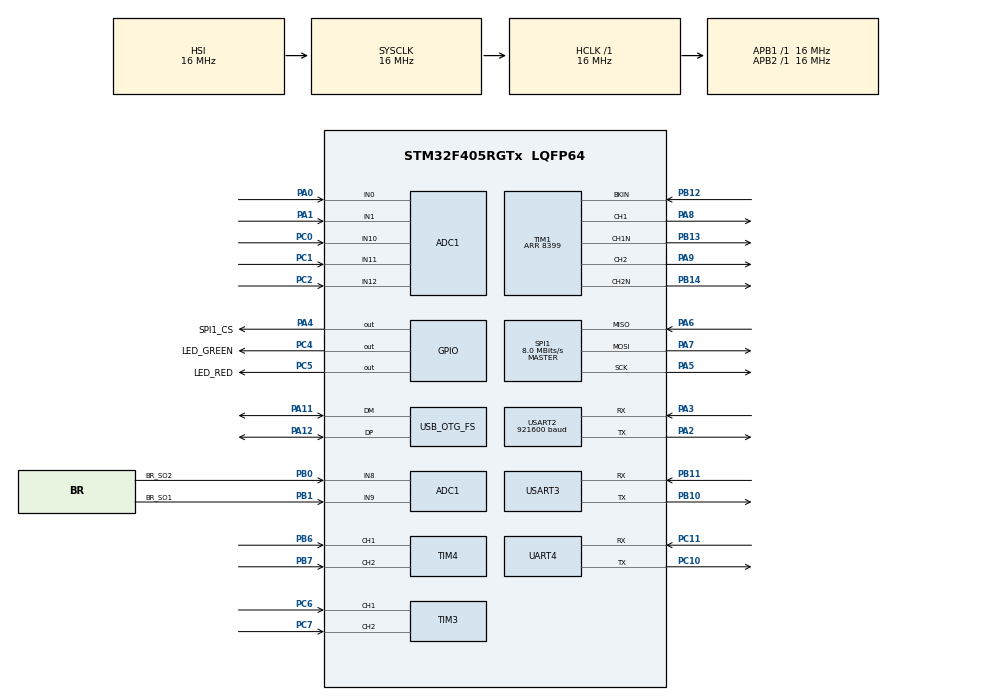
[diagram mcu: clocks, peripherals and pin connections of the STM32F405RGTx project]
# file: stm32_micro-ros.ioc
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ADC1.Channel-0\#ChannelRegularConversion=ADC_CHANNEL_0
ADC1.Channel-1\#ChannelRegularConversion=ADC_CHANNEL_8
ADC1.Channel-2\#ChannelRegularConversion=ADC_CHANNEL_9
ADC1.Channel-3\#ChannelRegularConversion=ADC_CHANNEL_10
ADC1.Channel-4\#ChannelRegularConversion=ADC_CHANNEL_11
ADC1.Channel-5\#ChannelRegularConversion=ADC_CHANNEL_12
ADC1.Channel-6\#ChannelRegularConversion=ADC_CHANNEL_TEMPSENSOR
ADC1.NbrOfConversion=7
ADC1.NbrOfConversionFlag=1
ADC1.Rank-0\#ChannelRegularConversion=1
ADC1.Rank-1\#ChannelRegularConversion=2
ADC1.Rank-2\#ChannelRegularConversion=3
ADC1.Rank-3\#ChannelRegularConversion=4
ADC1.Rank-4\#ChannelRegularConversion=5
ADC1.Rank-5\#ChannelRegularConversion=6
ADC1.Rank-6\#ChannelRegularConversion=7
ADC1.SamplingTime-0\#ChannelRegularConversion=ADC_SAMPLETIME_15CYCLES
ADC1.SamplingTime-1\#ChannelRegularConversion=ADC_SAMPLETIME_15CYCLES
ADC1.SamplingTime-2\#ChannelRegularConversion=ADC_SAMPLETIME_15CYCLES
ADC1.SamplingTime-3\#ChannelRegularConversion=ADC_SAMPLETIME_15CYCLES
ADC1.SamplingTime-4\#ChannelRegularConversion=ADC_SAMPLETIME_15CYCLES
ADC1.SamplingTime-5\#ChannelRegularConversion=ADC_SAMPLETIME_15CYCLES
ADC1.SamplingTime-6\#ChannelRegularConversion=ADC_SAMPLETIME_15CYCLES
ADC1.master=1
Dma.Request0=USART2_RX
Dma.USART2_RX.0.Direction=DMA_PERIPH_TO_MEMORY
Dma.USART2_RX.0.FIFOMode=DMA_FIFOMODE_DISABLE
Dma.USART2_RX.0.Instance=DMA1_Stream5
Dma.USART2_RX.0.MemDataAlignment=DMA_MDATAALIGN_BYTE
Dma.USART2_RX.0.MemInc=DMA_MINC_ENABLE
Dma.USART2_RX.0.Mode=DMA_CIRCULAR
Dma.USART2_RX.0.PeriphDataAlignment=DMA_PDATAALIGN_BYTE
Dma.USART2_RX.0.PeriphInc=DMA_PINC_DISABLE
Dma.USART2_RX.0.Priority=DMA_PRIORITY_LOW
FREERTOS.Tasks01=defaultTask,24,128,StartDefaultTask,Default,NULL,Dynamic,NULL,NULL
Mcu.Family=STM32F4
Mcu.Name=STM32F405RGTx
Mcu.Package=LQFP64
NVIC.DMA1_Stream5_IRQn=true\:5\:0\:false\:false\:true\:true\:false\:true\:true
NVIC.PriorityGroup=NVIC_PRIORITYGROUP_4
NVIC.TIM2_IRQn=true\:15\:0\:false\:false\:true\:false\:false\:true\:true
NVIC.TimeBase=TIM2_IRQn
NVIC.TimeBaseIP=TIM2
NVIC.USART2_IRQn=true\:5\:0\:false\:false\:true\:true\:true\:true\:true
PA0-WKUP.Signal=ADCx_IN0
PA1.Signal=ADCx_IN1
PA10.Signal=S_TIM1_CH3
PA11.Mode=Device_Only
PA11.Signal=USB_OTG_FS_DM
PA12.Mode=Device_Only
PA12.Signal=USB_OTG_FS_DP
PA13.Mode=Serial_Wire
PA13.Signal=SYS_JTMS-SWDIO
PA14.Mode=Serial_Wire
PA14.Signal=SYS_JTCK-SWCLK
PA2.Mode=Asynchronous
PA2.Signal=USART2_TX
PA3.Mode=Asynchronous
PA3.Signal=USART2_RX
PA4.GPIO_Label=SPI1_CS
PA4.Signal=GPIO_Output
PA5.Mode=Full_Duplex_Master
PA5.Signal=SPI1_SCK
PA6.Mode=Full_Duplex_Master
PA6.Signal=SPI1_MISO
PA7.Mode=Full_Duplex_Master
PA7.Signal=SPI1_MOSI
PA8.Signal=S_TIM1_CH1
PA9.Signal=S_TIM1_CH2
PB0.GPIO_Label=BR_SO2
PB0.Signal=ADCx_IN8
PB1.GPIO_Label=BR_SO1
PB1.Signal=ADCx_IN9
PB10.Mode=Asynchronous
PB10.Signal=USART3_TX
PB11.Mode=Asynchronous
PB11.Signal=USART3_RX
PB12.Mode=Activate-Break-Input
PB12.Signal=TIM1_BKIN
PB13.Mode=Output Compare1 CH1 CH1N
PB13.Signal=TIM1_CH1N
PB14.Mode=Output Compare2 CH2 CH2N
PB14.Signal=TIM1_CH2N
PB15.Signal=TIM1_CH3N
PB6.Signal=S_TIM4_CH1
PB7.Signal=S_TIM4_CH2
PC0.Signal=ADCx_IN10
PC1.Signal=ADCx_IN11
PC10.Mode=Asynchronous
PC10.Signal=UART4_TX
PC11.Mode=Asynchronous
PC11.Signal=UART4_RX
PC2.Signal=ADCx_IN12
PC4.GPIO_Label=LED_GREEN
PC4.GPIO_PuPd=GPIO_PULLUP
PC4.GPIO_Speed=GPIO_SPEED_FREQ_HIGH
PC4.Signal=GPIO_Output
PC5.GPIO_Label=LED_RED
PC5.GPIO_PuPd=GPIO_PULLUP
PC5.GPIO_Speed=GPIO_SPEED_FREQ_HIGH
PC5.Signal=GPIO_Output
PC6.Signal=S_TIM3_CH1
PC7.Signal=S_TIM3_CH2
PH0-OSC_IN.Mode=HSE-External-Oscillator
PH0-OSC_IN.Signal=RCC_OSC_IN
PH1-OSC_OUT.Mode=HSE-External-Oscillator
PH1-OSC_OUT.Signal=RCC_OSC_OUT
ProjectManager.HeapSize=0x200
ProjectManager.StackSize=0x400
ProjectManager.TargetToolchain=STM32CubeIDE
RCC.48MHZClocksFreq_Value=48000000
RCC.AHBFreq_Value=16000000
RCC.APB1Freq_Value=16000000
RCC.APB1TimFreq_Value=16000000
RCC.APB2Freq_Value=16000000
RCC.APB2TimFreq_Value=16000000
RCC.CortexFreq_Value=16000000
RCC.HCLKFreq_Value=16000000
RCC.HSE_VALUE=8000000
RCC.HSICalibrationValue=16
RCC.HSI_VALUE=16000000
RCC.LSE_VALUE=32768
RCC.PLLM=4
RCC.PLLN=72
RCC.PLLQ=3
RCC.SYSCLKFreq_VALUE=16000000
RCC.VCOOutputFreq_Value=144000000
SH.ADCx_IN0.0=ADC1_IN0,IN0
SH.ADCx_IN1.0=ADC1_IN1,IN1
SH.ADCx_IN10.0=ADC1_IN10,IN10
SH.ADCx_IN11.0=ADC1_IN11,IN11
SH.ADCx_IN12.0=ADC1_IN12,IN12
SH.ADCx_IN8.0=ADC1_IN8,IN8
SH.ADCx_IN9.0=ADC1_IN9,IN9
SH.S_TIM1_CH1.0=TIM1_CH1,Output Compare1 CH1 CH1N
SH.S_TIM1_CH2.0=TIM1_CH2,Output Compare2 CH2 CH2N
SH.S_TIM1_CH3.0=TIM1_CH3
SH.S_TIM3_CH1.0=TIM3_CH1,Encoder_Interface
SH.S_TIM3_CH2.0=TIM3_CH2,Encoder_Interface
SH.S_TIM4_CH1.0=TIM4_CH1,Encoder_Interface
SH.S_TIM4_CH2.0=TIM4_CH2,Encoder_Interface
SPI1.BaudRatePrescaler=SPI_BAUDRATEPRESCALER_2
SPI1.CalculateBaudRate=8.0 MBits/s
SPI1.Direction=SPI_DIRECTION_2LINES
SPI1.Mode=SPI_MODE_MASTER
SPI1.VirtualType=VM_MASTER
TIM1.Channel-Output\ Compare1\ CH1\ CH1N=TIM_CHANNEL_1
TIM1.Channel-Output\ Compare2\ CH2\ CH2N=TIM_CHANNEL_2
TIM1.DeadTime=58
TIM1.Period=8399
UART4.VirtualMode=Asynchronous
USART2.BaudRate=921600
USART2.VirtualMode=VM_ASYNC
USART3.VirtualMode=VM_ASYNC
USB_OTG_FS.VirtualMode=Device_Only
VP_ADC1_TempSens_Input.Mode=IN-TempSens
VP_FREERTOS_VS_CMSIS_V2.Mode=CMSIS_V2
VP_SYS_VS_tim2.Mode=TIM2
VP_TIM1_VS_ClockSourceINT.Mode=Internal
board=custom

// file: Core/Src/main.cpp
/* USER CODE BEGIN Header */
/**
  ******************************************************************************
  * @file           : main.cpp
  * @brief          : Main program body
  ******************************************************************************
  * @attention
  *
  * Copyright (c) 2025 STMicroelectronics.
  * All rights reserved.
  *
  * This software is licensed under terms that can be found in the LICENSE file
  * in the root directory of this software component.
  * If no LICENSE file comes with this software, it is provided AS-IS.
  *
  ******************************************************************************
  */
/* USER CODE END Header */
#include "main.h"
#include "cmsis_os.h"

/* USER CODE BEGIN Includes */
#include <stdio.h>
#include "extern.h"

/* USER CODE END Includes */

ADC_HandleTypeDef hadc1;

SPI_HandleTypeDef hspi1;

TIM_HandleTypeDef htim1;
TIM_HandleTypeDef htim3;
TIM_HandleTypeDef htim4;

UART_HandleTypeDef huart4;
UART_HandleTypeDef huart2;
UART_HandleTypeDef huart3;
DMA_HandleTypeDef hdma_usart2_rx;

PCD_HandleTypeDef hpcd_USB_OTG_FS;

/* Definitions for defaultTask */
osThreadId_t defaultTaskHandle;
const osThreadAttr_t defaultTask_attributes = {
  .name = "defaultTask",
  .stack_size = 128 * 4,
  .priority = (osPriority_t) osPriorityNormal,
};
/* USER CODE BEGIN PV */
// Global task manager instance
task_class* pTaskManager = nullptr;

// Task handles and attributes (protected from CubeMX regeneration)
osThreadId_t microRosTaskHandle;
const osThreadAttr_t microRosTask_attributes = {
  .name = "MicroRosTask",
  .stack_size = 6144,  // 6KB - reduced for memory optimization
  .priority = (osPriority_t) osPriorityBelowNormal,  // Lower priority to not block other tasks
};

osThreadId_t controlTaskHandle;
const osThreadAttr_t controlTask_attributes = {
  .name = "ControlTask",
  .stack_size = 2048,  // Increased for motor/encoder operations
  .priority = (osPriority_t) osPriorityNormal,  // Reduced from High
};

osThreadId_t sensorTaskHandle;
const osThreadAttr_t sensorTask_attributes = {
  .name = "SensorTask",
  .stack_size = 2048,  // Increased for IMU sensor initialization
  .priority = (osPriority_t) osPriorityNormal,
};
/* USER CODE END PV */

void SystemClock_Config(void);
static void MX_GPIO_Init(void);
static void MX_DMA_Init(void);
static void MX_SPI1_Init(void);
static void MX_ADC1_Init(void);
static void MX_TIM1_Init(void);
static void MX_USART3_UART_Init(void);
static void MX_TIM4_Init(void);
static void MX_UART4_Init(void);
static void MX_USART2_UART_Init(void);
static void MX_TIM3_Init(void);
static void MX_USB_OTG_FS_PCD_Init(void);
void StartDefaultTask(void *argument);

/* USER CODE BEGIN PFP */
// Jump to DFU bootloader function (C linkage for use in usbd_cdc_if.c)
#ifdef __cplusplus
extern "C" {
#endif
void JumpToBootloader(void);
#ifdef __cplusplus
}
#endif

// Redirect printf to UART3 (debug output, 115200 baud - PB10/PB11)
#ifdef __cplusplus
extern "C" int _write(int32_t file, uint8_t *ptr, int32_t len)
{
#else
int _write(int32_t file, uint8_t *ptr, int32_t len) {
#endif
	// Use UART3 for printf output (UART2 is used by micro-ROS @ 921600)
	HAL_UART_Transmit(&huart3, ptr, len, HAL_MAX_DELAY);
	return len;
}
/* USER CODE END PFP */

/* USER CODE BEGIN 0 */

// DFU mode can be entered by sending "DFU" command via USB CDC

// Jump to System Memory (DFU Bootloader) for STM32F405
// This allows entering DFU mode via USB command without changing BOOT0 pin
void JumpToBootloader(void)
{
    // Disable all interrupts
    __disable_irq();

    // System memory start address for STM32F405
    uint32_t bootloader_address = 0x1FFF0000;

    // Deinitialize all peripherals
    HAL_RCC_DeInit();
    HAL_DeInit();

    // Disable SysTick
    SysTick->CTRL = 0;
    SysTick->LOAD = 0;
    SysTick->VAL = 0;

    // Clear all interrupt pending flags
    for (int i = 0; i < 8; i++) {
        NVIC->ICER[i] = 0xFFFFFFFF;
        NVIC->ICPR[i] = 0xFFFFFFFF;
    }

    // Remap system memory to 0x00000000
    __HAL_RCC_SYSCFG_CLK_ENABLE();
    __HAL_SYSCFG_REMAPMEMORY_SYSTEMFLASH();

    // Get stack pointer and reset handler from bootloader
    uint32_t stack_pointer = *(__IO uint32_t*)bootloader_address;
    uint32_t jump_address = *(__IO uint32_t*)(bootloader_address + 4);

    // Set stack pointer
    __set_MSP(stack_pointer);

    // Jump to bootloader
    void (*bootloader)(void) = (void (*)(void))jump_address;
    bootloader();

    // Should never reach here
    while(1);
}

/* USER CODE END 0 */

int main(void)
{

  /* USER CODE BEGIN 1 */
  // Early hardware init for DFU check
  RCC->AHB1ENR |= RCC_AHB1ENR_GPIOCEN;
  GPIOC->MODER |= (1<<8) | (1<<10);  // PC4, PC5 as output

  // Simple DFU trigger: If both LEDs would be forced HIGH externally, enter DFU
  // This allows BOOT0=3.3V but still runs application normally
  // To enter DFU: Connect specific GPIO (future: button) to GND, then reset

  // For now: Just run application (BOOT0 can stay at 3.3V with code workaround)
  // The bootloader at 0x1FFF0000 only runs if we jump to it explicitly

  // Early boot indicator
  GPIOC->BSRR = (1<<4) | (1<<5);  // LEDs ON at boot
  /* USER CODE END 1 */

  /* MCU Configuration--------------------------------------------------------*/

  /* Reset of all peripherals, Initializes the Flash interface and the Systick. */
  HAL_Init();

  /* USER CODE BEGIN Init */
  GPIOC->BSRR = (1<<20) | (1<<21);  // LEDs OFF after HAL_Init
  for(volatile int i=0; i<1000000; i++);
  GPIOC->BSRR = (1<<4) | (1<<5);  // LEDs ON
  for(volatile int i=0; i<1000000; i++);
  GPIOC->BSRR = (1<<20) | (1<<21);  // LEDs OFF
  /* USER CODE END Init */

  /* Configure the system clock */
  SystemClock_Config();

  /* Initialize all configured peripherals */
  MX_GPIO_Init();
  MX_DMA_Init();
  MX_SPI1_Init();
  MX_ADC1_Init();
  MX_TIM1_Init();
  MX_USART3_UART_Init();
  MX_TIM4_Init();
  MX_UART4_Init();
  MX_USART2_UART_Init();
  MX_TIM3_Init();
  MX_USB_OTG_FS_PCD_Init();
  /* USER CODE BEGIN 2 */

  // CRITICAL: Enable FPU before FreeRTOS starts
  // This MUST be done before any FPU operations
  #if (__FPU_PRESENT == 1) && (__FPU_USED == 1)
  SCB->CPACR |= ((3UL << 10*2) | (3UL << 11*2));  // Set CP10 and CP11 Full Access
  #endif

#if 0
  // Stage 1: Boot indicator (RED)
  HAL_GPIO_WritePin(LED_RED_GPIO_Port, LED_RED_Pin, GPIO_PIN_SET);
  HAL_Delay(200);
  HAL_GPIO_WritePin(LED_RED_GPIO_Port, LED_RED_Pin, GPIO_PIN_RESET);
  HAL_Delay(200);

  // Stage 2: Before USB init (GREEN 1 blink)
  HAL_GPIO_WritePin(LED_GREEN_GPIO_Port, LED_GREEN_Pin, GPIO_PIN_SET);
  HAL_Delay(200);
  HAL_GPIO_WritePin(LED_GREEN_GPIO_Port, LED_GREEN_Pin, GPIO_PIN_RESET);
  HAL_Delay(200);

  // Initialize USB - DISABLED until FreeRTOS works
  //MX_USB_DEVICE_Init();

  // Stage 3: After USB init (GREEN 2 blinks)
  for(int i=0; i<2; i++) {
    HAL_GPIO_WritePin(LED_GREEN_GPIO_Port, LED_GREEN_Pin, GPIO_PIN_SET);
    HAL_Delay(100);
    HAL_GPIO_WritePin(LED_GREEN_GPIO_Port, LED_GREEN_Pin, GPIO_PIN_RESET);
    HAL_Delay(100);
  }

  HAL_Delay(1000);  // Wait for USB enumeration

  // Stage 4: USB ready (GREEN 3 blinks)
  for(int i=0; i<3; i++) {
    HAL_GPIO_WritePin(LED_GREEN_GPIO_Port, LED_GREEN_Pin, GPIO_PIN_SET);
    HAL_Delay(100);
    HAL_GPIO_WritePin(LED_GREEN_GPIO_Port, LED_GREEN_Pin, GPIO_PIN_RESET);
    HAL_Delay(100);
  }
#endif

  // Start Timer3 in encoder mode
  HAL_TIM_Encoder_Start(&htim3, TIM_CHANNEL_ALL);

  // Start Timer4 in encoder mode
  HAL_TIM_Encoder_Start(&htim4, TIM_CHANNEL_ALL);

//  // RED 1 blink: Before TaskManager
//  HAL_GPIO_WritePin(LED_RED_GPIO_Port, LED_RED_Pin, GPIO_PIN_SET);
//  HAL_Delay(100);
//  HAL_GPIO_WritePin(LED_RED_GPIO_Port, LED_RED_Pin, GPIO_PIN_RESET);
//  HAL_Delay(100);

  // Task Manager 초기??(UART3 and SPI1) - TEMPORARILY DISABLED
  //pTaskManager = new task_class(&huart3, &hspi1);
  pTaskManager = nullptr;  // Skip TaskManager for now

  // RED 2 blinks: After TaskManager
  for(int i=0; i<2; i++) {
    HAL_GPIO_WritePin(LED_RED_GPIO_Port, LED_RED_Pin, GPIO_PIN_SET);
    HAL_Delay(100);
    HAL_GPIO_WritePin(LED_RED_GPIO_Port, LED_RED_Pin, GPIO_PIN_RESET);
    HAL_Delay(100);
  }

  // Test printf statements (will output via USB CDC)
  printf("\r\n=== STM32 Micro-ROS System Starting ===\r\n");

  // RED 3 blinks: After printf
  for(int i=0; i<3; i++) {
    HAL_GPIO_WritePin(LED_RED_GPIO_Port, LED_RED_Pin, GPIO_PIN_SET);
    HAL_Delay(100);
    HAL_GPIO_WritePin(LED_RED_GPIO_Port, LED_RED_Pin, GPIO_PIN_RESET);
    HAL_Delay(100);
  }

  /* USER CODE END 2 */

  /* Init scheduler */
  osKernelInitialize();

  /* USER CODE BEGIN RTOS_QUEUES */
  printf("Before queue init\r\n");

  // Initialize TaskManager BEFORE creating any tasks
  printf("Initializing TaskManager...\r\n");
  task_class::instance = new task_class(
    &huart2,  // UART2 for micro-ROS (921600 baud)
    &hspi1    // SPI for IMU sensor
  );

  if (task_class::instance != nullptr) {
    printf("TaskManager initialized at: %p\r\n", task_class::instance);
    printf("Initializing TaskManager queues\r\n");
    task_class::instance->initQueues();
  } else {
    printf("ERROR: TaskManager initialization failed!\r\n");
    Error_Handler();
  }

  printf("Creating defaultTask...\r\n");
  /* USER CODE END RTOS_QUEUES */

  /* Create the thread(s) */
  /* creation of defaultTask */
  defaultTaskHandle = osThreadNew(StartDefaultTask, NULL, &defaultTask_attributes);

  /* USER CODE BEGIN RTOS_THREADS */
  // All tasks created in USER CODE block (protected from CubeMX regeneration)

  BaseType_t result;

  /* creation of SensorTask */
  printf("Creating SensorTask...\r\n");
  result = xTaskCreate(
    task_class::sensorTaskWrapper,
    sensorTask_attributes.name,
    sensorTask_attributes.stack_size / sizeof(StackType_t),
    NULL,
    (UBaseType_t)sensorTask_attributes.priority,
    (TaskHandle_t*)&sensorTaskHandle
  );
  printf("SensorTask result: %ld\r\n", result);

  /* creation of ControlTask */
  printf("Creating ControlTask...\r\n");
  result = xTaskCreate(
    task_class::controlTaskWrapper,
    controlTask_attributes.name,
    controlTask_attributes.stack_size / sizeof(StackType_t),
    NULL,
    (UBaseType_t)controlTask_attributes.priority,
    (TaskHandle_t*)&controlTaskHandle
  );
  printf("ControlTask result: %ld\r\n", result);

  /* creation of MicroRosTask */
  printf("Creating MicroRosTask...\r\n");
  result = xTaskCreate(
    task_class::microRosTaskWrapper,
    microRosTask_attributes.name,
    microRosTask_attributes.stack_size / sizeof(StackType_t),
    NULL,
    (UBaseType_t)microRosTask_attributes.priority,
    (TaskHandle_t*)&microRosTaskHandle
  );
  printf("MicroRosTask result: %ld\r\n", result);

  printf("All tasks created\r\n");
  /* USER CODE END RTOS_THREADS */

  /* Start scheduler */
  osKernelStart();

  /* We should never get here as control is now taken by the scheduler */

  /* Infinite loop */
  /* USER CODE BEGIN WHILE */
  while (1)
  {
     printf("main_loop (ERROR: should not be here)\r\n");
     HAL_Delay(1000);
    /* USER CODE END WHILE */

  }
}

void SystemClock_Config(void)
{
  RCC_OscInitTypeDef RCC_OscInitStruct = {0};
  RCC_ClkInitTypeDef RCC_ClkInitStruct = {0};

  /** Configure the main internal regulator output voltage
  */
  __HAL_RCC_PWR_CLK_ENABLE();
  __HAL_PWR_VOLTAGESCALING_CONFIG(PWR_REGULATOR_VOLTAGE_SCALE1);

  /** Initializes the RCC Oscillators according to the specified parameters
  * in the RCC_OscInitTypeDef structure.
  */
  RCC_OscInitStruct.OscillatorType = RCC_OSCILLATORTYPE_HSI|RCC_OSCILLATORTYPE_HSE;
  RCC_OscInitStruct.HSEState = RCC_HSE_ON;
  RCC_OscInitStruct.HSIState = RCC_HSI_ON;
  RCC_OscInitStruct.HSICalibrationValue = RCC_HSICALIBRATION_DEFAULT;
  RCC_OscInitStruct.PLL.PLLState = RCC_PLL_ON;
  RCC_OscInitStruct.PLL.PLLSource = RCC_PLLSOURCE_HSE;
  RCC_OscInitStruct.PLL.PLLM = 4;
  RCC_OscInitStruct.PLL.PLLN = 72;
  RCC_OscInitStruct.PLL.PLLP = RCC_PLLP_DIV2;
  RCC_OscInitStruct.PLL.PLLQ = 3;
  if (HAL_RCC_OscConfig(&RCC_OscInitStruct) != HAL_OK)
  {
    Error_Handler();
  }

  /** Initializes the CPU, AHB and APB buses clocks
  */
  RCC_ClkInitStruct.ClockType = RCC_CLOCKTYPE_HCLK|RCC_CLOCKTYPE_SYSCLK
                              |RCC_CLOCKTYPE_PCLK1|RCC_CLOCKTYPE_PCLK2;
  RCC_ClkInitStruct.SYSCLKSource = RCC_SYSCLKSOURCE_HSI;
  RCC_ClkInitStruct.AHBCLKDivider = RCC_SYSCLK_DIV1;
  RCC_ClkInitStruct.APB1CLKDivider = RCC_HCLK_DIV1;
  RCC_ClkInitStruct.APB2CLKDivider = RCC_HCLK_DIV1;

  if (HAL_RCC_ClockConfig(&RCC_ClkInitStruct, FLASH_LATENCY_0) != HAL_OK)
  {
    Error_Handler();
  }
}

static void MX_ADC1_Init(void)
{

  ADC_ChannelConfTypeDef sConfig = {0};

  /** Configure the global features of the ADC (Clock, Resolution, Data Alignment and number of conversion)
  */
  hadc1.Instance = ADC1;
  hadc1.Init.ClockPrescaler = ADC_CLOCK_SYNC_PCLK_DIV2;
  hadc1.Init.Resolution = ADC_RESOLUTION_12B;
  hadc1.Init.ScanConvMode = ENABLE;
  hadc1.Init.ContinuousConvMode = DISABLE;
  hadc1.Init.DiscontinuousConvMode = DISABLE;
  hadc1.Init.ExternalTrigConvEdge = ADC_EXTERNALTRIGCONVEDGE_NONE;
  hadc1.Init.ExternalTrigConv = ADC_SOFTWARE_START;
  hadc1.Init.DataAlign = ADC_DATAALIGN_RIGHT;
  hadc1.Init.NbrOfConversion = 7;
  hadc1.Init.DMAContinuousRequests = DISABLE;
  hadc1.Init.EOCSelection = ADC_EOC_SINGLE_CONV;
  if (HAL_ADC_Init(&hadc1) != HAL_OK)
  {
    Error_Handler();
  }

  /** Configure for the selected ADC regular channel its corresponding rank in the sequencer and its sample time.
  */
  sConfig.Channel = ADC_CHANNEL_0;
  sConfig.Rank = 1;
  sConfig.SamplingTime = ADC_SAMPLETIME_15CYCLES;
  if (HAL_ADC_ConfigChannel(&hadc1, &sConfig) != HAL_OK)
  {
    Error_Handler();
  }

  /** Configure for the selected ADC regular channel its corresponding rank in the sequencer and its sample time.
  */
  sConfig.Channel = ADC_CHANNEL_8;
  sConfig.Rank = 2;
  if (HAL_ADC_ConfigChannel(&hadc1, &sConfig) != HAL_OK)
  {
    Error_Handler();
  }

  /** Configure for the selected ADC regular channel its corresponding rank in the sequencer and its sample time.
  */
  sConfig.Channel = ADC_CHANNEL_9;
  sConfig.Rank = 3;
  if (HAL_ADC_ConfigChannel(&hadc1, &sConfig) != HAL_OK)
  {
    Error_Handler();
  }

  /** Configure for the selected ADC regular channel its corresponding rank in the sequencer and its sample time.
  */
  sConfig.Channel = ADC_CHANNEL_10;
  sConfig.Rank = 4;
  if (HAL_ADC_ConfigChannel(&hadc1, &sConfig) != HAL_OK)
  {
    Error_Handler();
  }

  /** Configure for the selected ADC regular channel its corresponding rank in the sequencer and its sample time.
  */
  sConfig.Channel = ADC_CHANNEL_11;
  sConfig.Rank = 5;
  if (HAL_ADC_ConfigChannel(&hadc1, &sConfig) != HAL_OK)
  {
    Error_Handler();
  }

  /** Configure for the selected ADC regular channel its corresponding rank in the sequencer and its sample time.
  */
  sConfig.Channel = ADC_CHANNEL_12;
  sConfig.Rank = 6;
  if (HAL_ADC_ConfigChannel(&hadc1, &sConfig) != HAL_OK)
  {
    Error_Handler();
  }

  /** Configure for the selected ADC regular channel its corresponding rank in the sequencer and its sample time.
  */
  sConfig.Channel = ADC_CHANNEL_TEMPSENSOR;
  sConfig.Rank = 7;
  if (HAL_ADC_ConfigChannel(&hadc1, &sConfig) != HAL_OK)
  {
    Error_Handler();
  }

}

static void MX_SPI1_Init(void)
{

  /* SPI1 parameter configuration*/
  hspi1.Instance = SPI1;
  hspi1.Init.Mode = SPI_MODE_MASTER;
  hspi1.Init.Direction = SPI_DIRECTION_2LINES;
  hspi1.Init.DataSize = SPI_DATASIZE_8BIT;
  hspi1.Init.CLKPolarity = SPI_POLARITY_LOW;
  hspi1.Init.CLKPhase = SPI_PHASE_1EDGE;
  hspi1.Init.NSS = SPI_NSS_SOFT;
  hspi1.Init.BaudRatePrescaler = SPI_BAUDRATEPRESCALER_2;
  hspi1.Init.FirstBit = SPI_FIRSTBIT_MSB;
  hspi1.Init.TIMode = SPI_TIMODE_DISABLE;
  hspi1.Init.CRCCalculation = SPI_CRCCALCULATION_DISABLE;
  hspi1.Init.CRCPolynomial = 10;
  if (HAL_SPI_Init(&hspi1) != HAL_OK)
  {
    Error_Handler();
  }

}

static void MX_TIM1_Init(void)
{

  TIM_ClockConfigTypeDef sClockSourceConfig = {0};
  TIM_MasterConfigTypeDef sMasterConfig = {0};
  TIM_OC_InitTypeDef sConfigOC = {0};
  TIM_BreakDeadTimeConfigTypeDef sBreakDeadTimeConfig = {0};

  htim1.Instance = TIM1;
  htim1.Init.Prescaler = 0;
  htim1.Init.CounterMode = TIM_COUNTERMODE_UP;
  htim1.Init.Period = 8399;
  htim1.Init.ClockDivision = TIM_CLOCKDIVISION_DIV1;
  htim1.Init.RepetitionCounter = 0;
  htim1.Init.AutoReloadPreload = TIM_AUTORELOAD_PRELOAD_DISABLE;
  if (HAL_TIM_Base_Init(&htim1) != HAL_OK)
  {
    Error_Handler();
  }
  sClockSourceConfig.ClockSource = TIM_CLOCKSOURCE_INTERNAL;
  if (HAL_TIM_ConfigClockSource(&htim1, &sClockSourceConfig) != HAL_OK)
  {
    Error_Handler();
  }
  if (HAL_TIM_OC_Init(&htim1) != HAL_OK)
  {
    Error_Handler();
  }
  sMasterConfig.MasterOutputTrigger = TIM_TRGO_RESET;
  sMasterConfig.MasterSlaveMode = TIM_MASTERSLAVEMODE_DISABLE;
  if (HAL_TIMEx_MasterConfigSynchronization(&htim1, &sMasterConfig) != HAL_OK)
  {
    Error_Handler();
  }
  sConfigOC.OCMode = TIM_OCMODE_TIMING;
  sConfigOC.Pulse = 0;
  sConfigOC.OCPolarity = TIM_OCPOLARITY_HIGH;
  sConfigOC.OCNPolarity = TIM_OCNPOLARITY_HIGH;
  sConfigOC.OCFastMode = TIM_OCFAST_DISABLE;
  sConfigOC.OCIdleState = TIM_OCIDLESTATE_RESET;
  sConfigOC.OCNIdleState = TIM_OCNIDLESTATE_RESET;
  if (HAL_TIM_OC_ConfigChannel(&htim1, &sConfigOC, TIM_CHANNEL_1) != HAL_OK)
  {
    Error_Handler();
  }
  if (HAL_TIM_OC_ConfigChannel(&htim1, &sConfigOC, TIM_CHANNEL_2) != HAL_OK)
  {
    Error_Handler();
  }
  sBreakDeadTimeConfig.OffStateRunMode = TIM_OSSR_DISABLE;
  sBreakDeadTimeConfig.OffStateIDLEMode = TIM_OSSI_DISABLE;
  sBreakDeadTimeConfig.LockLevel = TIM_LOCKLEVEL_OFF;
  sBreakDeadTimeConfig.DeadTime = 58;
  sBreakDeadTimeConfig.BreakState = TIM_BREAK_ENABLE;
  sBreakDeadTimeConfig.BreakPolarity = TIM_BREAKPOLARITY_HIGH;
  sBreakDeadTimeConfig.AutomaticOutput = TIM_AUTOMATICOUTPUT_DISABLE;
  if (HAL_TIMEx_ConfigBreakDeadTime(&htim1, &sBreakDeadTimeConfig) != HAL_OK)
  {
    Error_Handler();
  }
  HAL_TIM_MspPostInit(&htim1);

}

static void MX_TIM3_Init(void)
{

  TIM_Encoder_InitTypeDef sConfig = {0};
  TIM_MasterConfigTypeDef sMasterConfig = {0};

  htim3.Instance = TIM3;
  htim3.Init.Prescaler = 0;
  htim3.Init.CounterMode = TIM_COUNTERMODE_UP;
  htim3.Init.Period = 65535;
  htim3.Init.ClockDivision = TIM_CLOCKDIVISION_DIV1;
  htim3.Init.AutoReloadPreload = TIM_AUTORELOAD_PRELOAD_DISABLE;
  sConfig.EncoderMode = TIM_ENCODERMODE_TI1;
  sConfig.IC1Polarity = TIM_ICPOLARITY_RISING;
  sConfig.IC1Selection = TIM_ICSELECTION_DIRECTTI;
  sConfig.IC1Prescaler = TIM_ICPSC_DIV1;
  sConfig.IC1Filter = 0;
  sConfig.IC2Polarity = TIM_ICPOLARITY_RISING;
  sConfig.IC2Selection = TIM_ICSELECTION_DIRECTTI;
  sConfig.IC2Prescaler = TIM_ICPSC_DIV1;
  sConfig.IC2Filter = 0;
  if (HAL_TIM_Encoder_Init(&htim3, &sConfig) != HAL_OK)
  {
    Error_Handler();
  }
  sMasterConfig.MasterOutputTrigger = TIM_TRGO_RESET;
  sMasterConfig.MasterSlaveMode = TIM_MASTERSLAVEMODE_DISABLE;
  if (HAL_TIMEx_MasterConfigSynchronization(&htim3, &sMasterConfig) != HAL_OK)
  {
    Error_Handler();
  }

}

static void MX_TIM4_Init(void)
{

  TIM_Encoder_InitTypeDef sConfig = {0};
  TIM_MasterConfigTypeDef sMasterConfig = {0};

  htim4.Instance = TIM4;
  htim4.Init.Prescaler = 0;
  htim4.Init.CounterMode = TIM_COUNTERMODE_UP;
  htim4.Init.Period = 65535;
  htim4.Init.ClockDivision = TIM_CLOCKDIVISION_DIV1;
  htim4.Init.AutoReloadPreload = TIM_AUTORELOAD_PRELOAD_DISABLE;
  sConfig.EncoderMode = TIM_ENCODERMODE_TI1;
  sConfig.IC1Polarity = TIM_ICPOLARITY_RISING;
  sConfig.IC1Selection = TIM_ICSELECTION_DIRECTTI;
  sConfig.IC1Prescaler = TIM_ICPSC_DIV1;
  sConfig.IC1Filter = 0;
  sConfig.IC2Polarity = TIM_ICPOLARITY_RISING;
  sConfig.IC2Selection = TIM_ICSELECTION_DIRECTTI;
  sConfig.IC2Prescaler = TIM_ICPSC_DIV1;
  sConfig.IC2Filter = 0;
  if (HAL_TIM_Encoder_Init(&htim4, &sConfig) != HAL_OK)
  {
    Error_Handler();
  }
  sMasterConfig.MasterOutputTrigger = TIM_TRGO_RESET;
  sMasterConfig.MasterSlaveMode = TIM_MASTERSLAVEMODE_DISABLE;
  if (HAL_TIMEx_MasterConfigSynchronization(&htim4, &sMasterConfig) != HAL_OK)
  {
    Error_Handler();
  }

}

static void MX_UART4_Init(void)
{

  huart4.Instance = UART4;
  huart4.Init.BaudRate = 115200;
  huart4.Init.WordLength = UART_WORDLENGTH_8B;
  huart4.Init.StopBits = UART_STOPBITS_1;
  huart4.Init.Parity = UART_PARITY_NONE;
  huart4.Init.Mode = UART_MODE_TX_RX;
  huart4.Init.HwFlowCtl = UART_HWCONTROL_NONE;
  huart4.Init.OverSampling = UART_OVERSAMPLING_16;
  if (HAL_UART_Init(&huart4) != HAL_OK)
  {
    Error_Handler();
  }

}

static void MX_USART2_UART_Init(void)
{

  huart2.Instance = USART2;
  huart2.Init.BaudRate = 921600;
  huart2.Init.WordLength = UART_WORDLENGTH_8B;
  huart2.Init.StopBits = UART_STOPBITS_1;
  huart2.Init.Parity = UART_PARITY_NONE;
  huart2.Init.Mode = UART_MODE_TX_RX;
  huart2.Init.HwFlowCtl = UART_HWCONTROL_NONE;
  huart2.Init.OverSampling = UART_OVERSAMPLING_16;
  if (HAL_UART_Init(&huart2) != HAL_OK)
  {
    Error_Handler();
  }

}

static void MX_USART3_UART_Init(void)
{

  huart3.Instance = USART3;
  huart3.Init.BaudRate = 115200;
  huart3.Init.WordLength = UART_WORDLENGTH_8B;
  huart3.Init.StopBits = UART_STOPBITS_1;
  huart3.Init.Parity = UART_PARITY_NONE;
  huart3.Init.Mode = UART_MODE_TX_RX;
  huart3.Init.HwFlowCtl = UART_HWCONTROL_NONE;
  huart3.Init.OverSampling = UART_OVERSAMPLING_16;
  if (HAL_UART_Init(&huart3) != HAL_OK)
  {
    Error_Handler();
  }

}

static void MX_USB_OTG_FS_PCD_Init(void)
{

  hpcd_USB_OTG_FS.Instance = USB_OTG_FS;
  hpcd_USB_OTG_FS.Init.dev_endpoints = 4;
  hpcd_USB_OTG_FS.Init.speed = PCD_SPEED_FULL;
  hpcd_USB_OTG_FS.Init.dma_enable = DISABLE;
  hpcd_USB_OTG_FS.Init.phy_itface = PCD_PHY_EMBEDDED;
  hpcd_USB_OTG_FS.Init.Sof_enable = DISABLE;
  hpcd_USB_OTG_FS.Init.low_power_enable = DISABLE;
  hpcd_USB_OTG_FS.Init.lpm_enable = DISABLE;
  hpcd_USB_OTG_FS.Init.vbus_sensing_enable = DISABLE;
  hpcd_USB_OTG_FS.Init.use_dedicated_ep1 = DISABLE;
  if (HAL_PCD_Init(&hpcd_USB_OTG_FS) != HAL_OK)
  {
    Error_Handler();
  }

}

static void MX_DMA_Init(void)
{

  /* DMA controller clock enable */
  __HAL_RCC_DMA1_CLK_ENABLE();

  /* DMA interrupt init */
  /* DMA1_Stream5_IRQn interrupt configuration */
  HAL_NVIC_SetPriority(DMA1_Stream5_IRQn, 5, 0);
  HAL_NVIC_EnableIRQ(DMA1_Stream5_IRQn);

}

static void MX_GPIO_Init(void)
{
  GPIO_InitTypeDef GPIO_InitStruct = {0};

  /* GPIO Ports Clock Enable */
  __HAL_RCC_GPIOH_CLK_ENABLE();
  __HAL_RCC_GPIOC_CLK_ENABLE();
  __HAL_RCC_GPIOA_CLK_ENABLE();
  __HAL_RCC_GPIOB_CLK_ENABLE();

  /*Configure GPIO pin Output Level */
  HAL_GPIO_WritePin(SPI1_CS_GPIO_Port, SPI1_CS_Pin, GPIO_PIN_RESET);

  /*Configure GPIO pin Output Level */
  HAL_GPIO_WritePin(GPIOC, LED_GREEN_Pin|LED_RED_Pin, GPIO_PIN_RESET);

  /*Configure GPIO pin : SPI1_CS_Pin */
  GPIO_InitStruct.Pin = SPI1_CS_Pin;
  GPIO_InitStruct.Mode = GPIO_MODE_OUTPUT_PP;
  GPIO_InitStruct.Pull = GPIO_NOPULL;
  GPIO_InitStruct.Speed = GPIO_SPEED_FREQ_LOW;
  HAL_GPIO_Init(SPI1_CS_GPIO_Port, &GPIO_InitStruct);

  /*Configure GPIO pins : LED_GREEN_Pin LED_RED_Pin */
  GPIO_InitStruct.Pin = LED_GREEN_Pin|LED_RED_Pin;
  GPIO_InitStruct.Mode = GPIO_MODE_OUTPUT_PP;
  GPIO_InitStruct.Pull = GPIO_PULLUP;
  GPIO_InitStruct.Speed = GPIO_SPEED_FREQ_HIGH;
  HAL_GPIO_Init(GPIOC, &GPIO_InitStruct);

}

void StartDefaultTask(void *argument)
{
  /* USER CODE BEGIN 5 */

  printf("\r\n=== FreeRTOS Started Successfully! ===\r\n");
  printf("Task: defaultTask\r\n");
  printf("Stack size: 1024 bytes\r\n");
  printf("Heap free: %u bytes\r\n", xPortGetFreeHeapSize());
  printf("System monitoring task running\r\n");
  printf("=====================================\r\n\r\n");

  uint32_t counter = 0;

  /* Infinite loop */
  for(;;)
  {
    // Print system status
    printf("[SYS] Tick: %lu, Heap: %u, Count: %lu\r\n",
           xTaskGetTickCount(), xPortGetFreeHeapSize(), counter++);

    // 1 second delay
    vTaskDelay(pdMS_TO_TICKS(1000));
  }
  /* USER CODE END 5 */
}

void HAL_TIM_PeriodElapsedCallback(TIM_HandleTypeDef *htim)
{
  if (htim->Instance == TIM2)
  {
    HAL_IncTick();
  }
}

void Error_Handler(void)
{
  /* USER CODE BEGIN Error_Handler_Debug */
  /* User can add his own implementation to report the HAL error return state */
  __disable_irq();

  // Visual error indication - fast blink on PC4, PC5
  RCC->AHB1ENR |= RCC_AHB1ENR_GPIOCEN;
  GPIOC->MODER |= (1<<8) | (1<<10);  // PC4, PC5 output

  while (1)
  {
    GPIOC->BSRR = (1<<4) | (1<<5);   // ON
    for(volatile int i=0; i<100000; i++);
    GPIOC->BSRR = (1<<20) | (1<<21); // OFF
    for(volatile int i=0; i<100000; i++);
  }
  /* USER CODE END Error_Handler_Debug */
}

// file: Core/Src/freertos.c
/* USER CODE BEGIN Header */
/**
  ******************************************************************************
  * File Name          : freertos.c
  * Description        : Code for freertos applications
  ******************************************************************************
  * @attention
  *
  * Copyright (c) 2025 STMicroelectronics.
  * All rights reserved.
  *
  * This software is licensed under terms that can be found in the LICENSE file
  * in the root directory of this software component.
  * If no LICENSE file comes with this software, it is provided AS-IS.
  *
  ******************************************************************************
  */
/* USER CODE END Header */

#include "FreeRTOS.h"
#include "task.h"
#include "main.h"

/* USER CODE BEGIN Application */

// FreeRTOS Hook Functions for debugging
void vApplicationStackOverflowHook(TaskHandle_t xTask, char *pcTaskName)
{
  // Stack overflow detected - blink RED LED rapidly
  (void)xTask;
  (void)pcTaskName;

  __disable_irq();
  while(1) {
    HAL_GPIO_TogglePin(GPIOB, GPIO_PIN_5);  // RED LED
    for(volatile uint32_t i=0; i<200000; i++);
  }
}

void vApplicationMallocFailedHook(void)
{
  // Memory allocation failed - blink RED LED very rapidly
  __disable_irq();
  while(1) {
    HAL_GPIO_TogglePin(GPIOB, GPIO_PIN_5);  // RED LED
    for(volatile uint32_t i=0; i<100000; i++);
  }
}

void vApplicationIdleHook(void)
{
  // Idle task is running - everything OK
  // Can add power saving code here later
}

/* USER CODE END Application */
